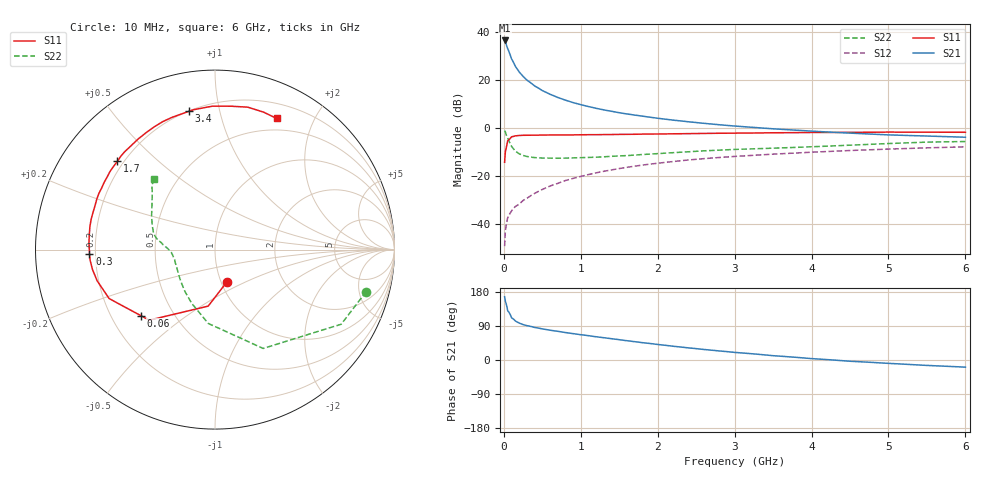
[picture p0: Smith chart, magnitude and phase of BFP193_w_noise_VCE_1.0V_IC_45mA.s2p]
! Infineon Technologies  Discrete & RF Semiconductors
! BFP193
! VCE =  1.0 V,  IC =  45 mA
! Common Emitter S-Parameters:  Jan 2017
# GHz  S  MA  R  50
!  f  S11  S21  S12  S22
! GHz  MAG  ANG  MAG  ANG  MAG  ANG  MAG  ANG
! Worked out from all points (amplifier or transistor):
!   77 points, 10 MHz to 6 GHz, reference 50 ohm
!   highest |S21| = 36.4 dB at 10 MHz (marker M1)
!   |S21| within 3 dB of that: start of sweep to 45.31 MHz
!   unconditionally stable (mu >= 1): 409.2 MHz to 2.95 GHz
!   at 130 MHz: K = 0.66, MSG = 30.3 dB, |S12| = -33.5 dB
!   at 2.2 GHz: K = 1.03, MAG = 7.6 dB, |S12| = -14.1 dB
!   at 6 GHz: K = 0.98, MSG = 2.0 dB, |S12| = -7.9 dB
!   lowest NFmin = 1.45 dB at 450 MHz
!   S11 on the Smith chart (normalised r, x): 10 MHz: 1.07, -0.40; 60 MHz: 0.33, -0.35; 300 MHz: 0.18, -0.02; 1.7 GHz: 0.18, +0.37; 3.4 GHz: 0.20, +0.81; 6 GHz: 0.36, +1.52
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0.01  0.1912 -69.4  66.35 166.9  0.0034 77.8  0.8746 -15.5
0.02  0.3173 -96.9  62.43 155.1  0.0072 73.6  0.8169 -30.6
0.05  0.5375 -133.0  44.82 130.2  0.0133 54.5  0.6128 -64.0
0.06  0.5525 -138.1  41.09 127.7  0.0143 54.0  0.5625 -68.4
0.1  0.6498 -155.2  27.45 111.5  0.0184 52.7  0.4131 -95.2
0.15  0.6793 -165.2  19.15 102.9  0.0229 53.3  0.3267 -113.3
0.2  0.6916 -170.8  14.62 97.4  0.0256 56.6  0.2872 -125.7
0.25  0.6982 -175.1  11.8 93.4  0.0305 59.3  0.2652 -134.4
0.3  0.6996 -178.2  9.876 90.7  0.0339 61.4  0.2523 -141.4
0.4  0.7032 176.9  7.472 85.9  0.0429 64.3  0.2392 -150.7
0.5  0.7057 172.9  5.988 82.1  0.0518 65.2  0.2341 -156.9
0.6  0.7087 169.3  5.014 78.7  0.061 65.8  0.2332 -161.9
0.8  0.7105 163.0  3.777 72.5  0.0795 66.1  0.2334 -168.2
1.1  0.7187 154.4  2.775 64.2  0.106 63.6  0.2412 -174.6
1.3  0.7222 148.8  2.364 58.8  0.124 61.6  0.2486 -177.6
1.7  0.7331 137.9  1.843 48.4  0.1582 56.4  0.2698 177.6
2.1  0.7458 127.5  1.513 38.8  0.1901 50.9  0.2962 173.6
3.1  0.776 106.1  1.06 18.5  0.2585 37.1  0.3584 163.7
3.4  0.7842 100.6  0.978 13.3  0.2762 33.5  0.3714 159.8
4.1  0.7993 89.4  0.836 2.4  0.3149 24.9  0.408 149.8
5.1  0.813 75.7  0.704 -9.9  0.3641 13.1  0.4761 137.3
6  0.8073 64.8  0.636 -18.9  0.4016 3.1  0.518 130.8
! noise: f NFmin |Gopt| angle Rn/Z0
0.45  1.45  0.4  -171  0.08
0.9  1.49  0.43  -165  0.08
1.9  2.13  0.59  -134  0.21
2.4  2.45  0.63  -119  0.45
